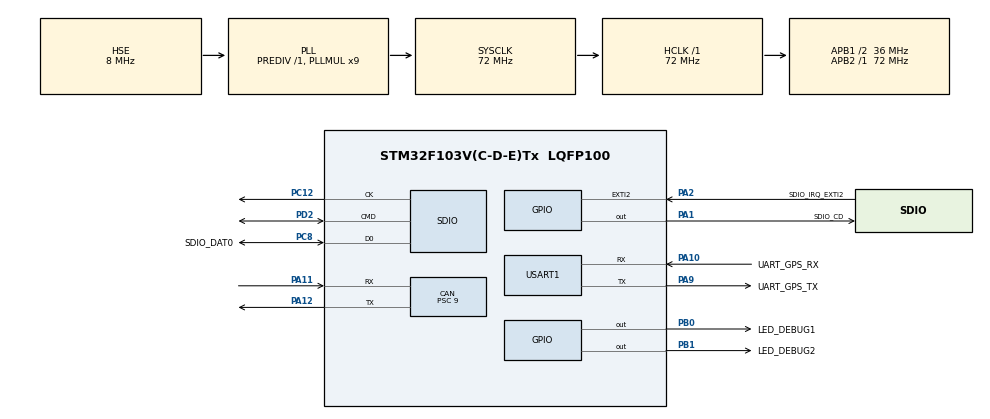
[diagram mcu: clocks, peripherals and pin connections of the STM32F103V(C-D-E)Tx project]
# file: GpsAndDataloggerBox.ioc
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CAN.BS1=CAN_BS1_10TQ
CAN.BS2=CAN_BS2_5TQ
CAN.CalculateTimeBit=4000
CAN.CalculateTimeQuantum=250.0
CAN.Prescaler=9
CAN.SJW=CAN_SJW_3TQ
Mcu.Family=STM32F1
Mcu.Name=STM32F103V(C-D-E)Tx
Mcu.Package=LQFP100
NVIC.PriorityGroup=NVIC_PRIORITYGROUP_4
NVIC.SDIO_IRQn=true\:0\:0\:false\:true\:true\:1\:true
NVIC.TIM2_IRQn=true\:0\:0\:false\:true\:true\:4\:true
NVIC.TIM4_IRQn=true\:0\:0\:false\:true\:true\:2\:true
NVIC.USART1_IRQn=true\:0\:0\:false\:true\:true\:3\:true
OSC_IN.Mode=HSE-External-Oscillator
OSC_IN.Signal=RCC_OSC_IN
OSC_OUT.Mode=HSE-External-Oscillator
OSC_OUT.Signal=RCC_OSC_OUT
PA1.GPIO_Label=SDIO_CD
PA1.Signal=GPIO_Output
PA10.GPIO_Label=UART_GPS_RX
PA10.Mode=Asynchronous
PA10.Signal=USART1_RX
PA11.Mode=Master
PA11.Signal=CAN_RX
PA12.Mode=Master
PA12.Signal=CAN_TX
PA13.Mode=Trace_Asynchronous_SW
PA13.Signal=SYS_JTMS-SWDIO
PA14.Mode=Trace_Asynchronous_SW
PA14.Signal=SYS_JTCK-SWCLK
PA2.GPIO_Label=SDIO_IRQ_EXTI2
PA2.Signal=GPXTI2
PA9.GPIO_Label=UART_GPS_TX
PA9.Mode=Asynchronous
PA9.Signal=USART1_TX
PB0.GPIO_Label=LED_DEBUG1
PB0.Signal=GPIO_Output
PB1.GPIO_Label=LED_DEBUG2
PB1.Signal=GPIO_Output
PB3.Mode=Trace_Asynchronous_SW
PB3.Signal=SYS_JTDO-TRACESWO
PC12.Mode=SD_1_bit
PC12.Signal=SDIO_CK
PC14-OSC32_IN.Mode=LSE-External-Oscillator
PC14-OSC32_IN.Signal=RCC_OSC32_IN
PC15-OSC32_OUT.Mode=LSE-External-Oscillator
PC15-OSC32_OUT.Signal=RCC_OSC32_OUT
PC8.GPIO_Label=SDIO_DAT0
PC8.Mode=SD_1_bit
PC8.Signal=SDIO_D0
PD2.Mode=SD_1_bit
PD2.Signal=SDIO_CMD
ProjectManager.HeapSize=0x200
ProjectManager.StackSize=0x400
ProjectManager.TargetToolchain=TrueSTUDIO
RCC.AHBFreq_Value=72000000
RCC.APB1CLKDivider=RCC_HCLK_DIV2
RCC.APB1Freq_Value=36000000
RCC.APB1TimFreq_Value=72000000
RCC.APB2Freq_Value=72000000
RCC.APB2TimFreq_Value=72000000
RCC.HCLKFreq_Value=72000000
RCC.PLLMUL=RCC_PLL_MUL9
RCC.PLLSourceVirtual=RCC_PLLSOURCE_HSE
RCC.RTCClockSelection=RCC_RTCCLKSOURCE_LSE
RCC.SYSCLKFreq_VALUE=72000000
RCC.SYSCLKSource=RCC_SYSCLKSOURCE_PLLCLK
RCC.USBFreq_Value=72000000
RCC.VDD_VALUE=3.3
TIM2.ClockDivision=TIM_CLOCKDIVISION_DIV4
TIM2.Period=100
TIM2.Prescaler=900
TIM2.TIM_MasterOutputTrigger=TIM_TRGO_RESET
TIM4.Period=7400
TIM4.Prescaler=9999
USART1.VirtualMode=VM_ASYNC
VP_FATFS_VS_SDIO.Mode=SDIO
VP_RTC_VS_RTC_Activate.Mode=RTC_Enabled
VP_RTC_VS_RTC_Calendar.Mode=RTC_Calendar
VP_TIM2_VS_ClockSourceINT.Mode=Internal
VP_TIM4_VS_ClockSourceINT.Mode=Internal
board=GpsAndDataloggerBox

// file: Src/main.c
/**
  ******************************************************************************
  * File Name          : main.c
  * Description        : Main program body
  ******************************************************************************
  * This notice applies to any and all portions of this file
  * that are not between comment pairs USER CODE BEGIN and
  * USER CODE END. Other portions of this file, whether
  * inserted by the user or by software development tools
  * are owned by their respective copyright owners.
  *
  * Copyright (c) 2017 STMicroelectronics International N.V.
  * All rights reserved.
  *
  * Redistribution and use in source and binary forms, with or without
  * modification, are permitted, provided that the following conditions are met:
  *
  * 1. Redistribution of source code must retain the above copyright notice,
  *    this list of conditions and the following disclaimer.
  * 2. Redistributions in binary form must reproduce the above copyright notice,
  *    this list of conditions and the following disclaimer in the documentation
  *    and/or other materials provided with the distribution.
  * 3. Neither the name of STMicroelectronics nor the names of other
  *    contributors to this software may be used to endorse or promote products
  *    derived from this software without specific written permission.
  * 4. This software, including modifications and/or derivative works of this
  *    software, must execute solely and exclusively on microcontroller or
  *    microprocessor devices manufactured by or for STMicroelectronics.
  * 5. Redistribution and use of this software other than as permitted under
  *    this license is void and will automatically terminate your rights under
  *    this license.
  *
  * THIS SOFTWARE IS PROVIDED BY STMICROELECTRONICS AND CONTRIBUTORS "AS IS"
  * AND ANY EXPRESS, IMPLIED OR STATUTORY WARRANTIES, INCLUDING, BUT NOT
  * LIMITED TO, THE IMPLIED WARRANTIES OF MERCHANTABILITY, FITNESS FOR A
  * PARTICULAR PURPOSE AND NON-INFRINGEMENT OF THIRD PARTY INTELLECTUAL PROPERTY
  * RIGHTS ARE DISCLAIMED TO THE FULLEST EXTENT PERMITTED BY LAW. IN NO EVENT
  * SHALL STMICROELECTRONICS OR CONTRIBUTORS BE LIABLE FOR ANY DIRECT, INDIRECT,
  * INCIDENTAL, SPECIAL, EXEMPLARY, OR CONSEQUENTIAL DAMAGES (INCLUDING, BUT NOT
  * LIMITED TO, PROCUREMENT OF SUBSTITUTE GOODS OR SERVICES; LOSS OF USE, DATA,
  * OR PROFITS; OR BUSINESS INTERRUPTION) HOWEVER CAUSED AND ON ANY THEORY OF
  * LIABILITY, WHETHER IN CONTRACT, STRICT LIABILITY, OR TORT (INCLUDING
  * NEGLIGENCE OR OTHERWISE) ARISING IN ANY WAY OUT OF THE USE OF THIS SOFTWARE,
  * EVEN IF ADVISED OF THE POSSIBILITY OF SUCH DAMAGE.
  *
  ******************************************************************************
  */

#include "main.h"
#include "stm32f1xx_hal.h"
#include "can.h"
#include "fatfs.h"
#include "rtc.h"
#include "sdio.h"
#include "tim.h"
#include "usart.h"
#include "gpio.h"

/* USER CODE BEGIN Includes */

#include "GPS.h"
#include "actual_data_provider.h"

/* USER CODE END Includes */

/* USER CODE BEGIN PV */
/* Private variables ---------------------------------------------------------*/
void GPS_Configure_Init(UART_HandleTypeDef*);
void GPS_Start_Transmit(UART_HandleTypeDef*);
/* USER CODE END PV */

void SystemClock_Config(void);
static void MX_NVIC_Init(void);

/* USER CODE BEGIN PFP */
/* Private function prototypes -----------------------------------------------*/

/* USER CODE END PFP */

int main(void)
{

  /* MCU Configuration----------------------------------------------------------*/

  /* Reset of all peripherals, Initializes the Flash interface and the Systick. */
  HAL_Init();

  /* Configure the system clock */
  SystemClock_Config();

  /* Initialize all configured peripherals */
  MX_GPIO_Init();
  MX_CAN_Init();
  MX_SDIO_SD_Init();
  MX_USART1_UART_Init();
  MX_RTC_Init();
  MX_TIM4_Init();
  MX_TIM2_Init();
  MX_FATFS_Init();

  /* Initialize interrupts */
  MX_NVIC_Init();

  /* USER CODE BEGIN 2 */
  /*GPS_Configure_Init(&huart1);
  GPS_Start_Transmit(&huart1);
  HAL_TIM_Base_Start_IT(&htim4);*/ // TODO

  ActualDataProvider_init();

  FATFS ff;

  FRESULT mount_res = f_mount(&ff, "", 1);

  FIL fil;

  FRESULT open_res = f_open(&fil, "/test32.txt", FA_READ | FA_WRITE | FA_OPEN_ALWAYS);

  char text[] = "na ekierce siedzi wrona";
  uint32_t length = strlen(text);
  uint32_t written;

  int write_res = f_puts(text, &fil);

  FRESULT close_res = f_close(&fil);

  f_mount(0, "", 1);

  /*FIFOQueue queue;

  volatile CanRxMsgTypeDef tab[32];

  FIFOQueue_init(&queue, tab, 32, sizeof(CanRxMsgTypeDef));

  CanRxMsgTypeDef a;
  a.Data[0] = 15;
  CanRxMsgTypeDef b;
  b.Data[0] = 123;
  FIFOQueue_enqueue(&queue, &a);
  a.Data[0] = 13;
  FIFOQueue_enqueue(&queue, &b);
  a.Data[0] = 14;
  FIFOQueue_enqueue(&queue, &a);
  FIFOQueue_dequeue(&queue, &b);
  FIFOQueue_dequeue(&queue, &a);*/ //TODO Debug powyzej

  /* USER CODE END 2 */

  /* Infinite loop */
  while (1)
  {

  /* USER CODE BEGIN 3 */
	  ActualDataProvider_thread();
  }
  /* USER CODE END 3 */

}

/** System Clock Configuration
*/
void SystemClock_Config(void)
{

  RCC_OscInitTypeDef RCC_OscInitStruct;
  RCC_ClkInitTypeDef RCC_ClkInitStruct;
  RCC_PeriphCLKInitTypeDef PeriphClkInit;

    /**Initializes the CPU, AHB and APB busses clocks
    */
  RCC_OscInitStruct.OscillatorType = RCC_OSCILLATORTYPE_HSE|RCC_OSCILLATORTYPE_LSE;
  RCC_OscInitStruct.HSEState = RCC_HSE_ON;
  RCC_OscInitStruct.HSEPredivValue = RCC_HSE_PREDIV_DIV1;
  RCC_OscInitStruct.LSEState = RCC_LSE_ON;
  RCC_OscInitStruct.HSIState = RCC_HSI_ON;
  RCC_OscInitStruct.PLL.PLLState = RCC_PLL_ON;
  RCC_OscInitStruct.PLL.PLLSource = RCC_PLLSOURCE_HSE;
  RCC_OscInitStruct.PLL.PLLMUL = RCC_PLL_MUL9;
  if (HAL_RCC_OscConfig(&RCC_OscInitStruct) != HAL_OK)
  {
    _Error_Handler(__FILE__, __LINE__);
  }

    /**Initializes the CPU, AHB and APB busses clocks
    */
  RCC_ClkInitStruct.ClockType = RCC_CLOCKTYPE_HCLK|RCC_CLOCKTYPE_SYSCLK
                              |RCC_CLOCKTYPE_PCLK1|RCC_CLOCKTYPE_PCLK2;
  RCC_ClkInitStruct.SYSCLKSource = RCC_SYSCLKSOURCE_PLLCLK;
  RCC_ClkInitStruct.AHBCLKDivider = RCC_SYSCLK_DIV1;
  RCC_ClkInitStruct.APB1CLKDivider = RCC_HCLK_DIV2;
  RCC_ClkInitStruct.APB2CLKDivider = RCC_HCLK_DIV1;

  if (HAL_RCC_ClockConfig(&RCC_ClkInitStruct, FLASH_LATENCY_2) != HAL_OK)
  {
    _Error_Handler(__FILE__, __LINE__);
  }

  PeriphClkInit.PeriphClockSelection = RCC_PERIPHCLK_RTC;
  PeriphClkInit.RTCClockSelection = RCC_RTCCLKSOURCE_LSE;
  if (HAL_RCCEx_PeriphCLKConfig(&PeriphClkInit) != HAL_OK)
  {
    _Error_Handler(__FILE__, __LINE__);
  }

    /**Configure the Systick interrupt time
    */
  HAL_SYSTICK_Config(HAL_RCC_GetHCLKFreq()/1000);

    /**Configure the Systick
    */
  HAL_SYSTICK_CLKSourceConfig(SYSTICK_CLKSOURCE_HCLK);

  /* SysTick_IRQn interrupt configuration */
  HAL_NVIC_SetPriority(SysTick_IRQn, 0, 0);
}

/** NVIC Configuration
*/
static void MX_NVIC_Init(void)
{
  /* SDIO_IRQn interrupt configuration */
  HAL_NVIC_SetPriority(SDIO_IRQn, 0, 0);
  HAL_NVIC_EnableIRQ(SDIO_IRQn);
  /* TIM4_IRQn interrupt configuration */
  HAL_NVIC_SetPriority(TIM4_IRQn, 0, 0);
  HAL_NVIC_EnableIRQ(TIM4_IRQn);
  /* USART1_IRQn interrupt configuration */
  HAL_NVIC_SetPriority(USART1_IRQn, 0, 0);
  HAL_NVIC_EnableIRQ(USART1_IRQn);
  /* TIM2_IRQn interrupt configuration */
  HAL_NVIC_SetPriority(TIM2_IRQn, 0, 0);
  HAL_NVIC_EnableIRQ(TIM2_IRQn);
}

void _Error_Handler(char * file, int line)
{
  while(1)
  {
  }
}

/************************ (C) COPYRIGHT STMicroelectronics *****END OF FILE****/
